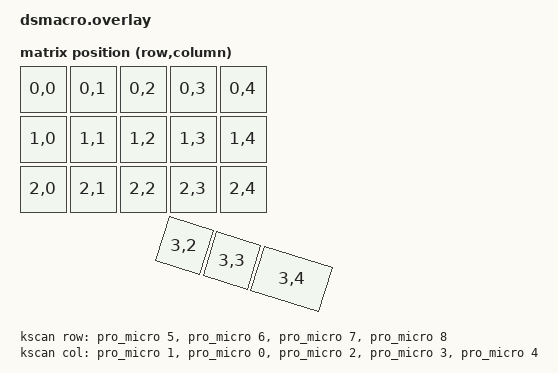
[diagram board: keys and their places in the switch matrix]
#include <dt-bindings/zmk/matrix_transform.h> 
#include <physical_layouts.dtsi>

/ {
    kscan: kscan {
        compatible = "zmk,kscan-gpio-matrix";
        diode-direction = "col2row";
        
        col-gpios
	    = <&pro_micro 1 GPIO_ACTIVE_HIGH>
	    , <&pro_micro 0 GPIO_ACTIVE_HIGH>
	    , <&pro_micro 2 GPIO_ACTIVE_HIGH>
	    , <&pro_micro 3 GPIO_ACTIVE_HIGH>
        , <&pro_micro 4 GPIO_ACTIVE_HIGH>
	    ;
	
        row-gpios
	    = <&pro_micro 5 (GPIO_ACTIVE_HIGH | GPIO_PULL_DOWN)>
	    , <&pro_micro 6 (GPIO_ACTIVE_HIGH | GPIO_PULL_DOWN)>
        , <&pro_micro 7 (GPIO_ACTIVE_HIGH | GPIO_PULL_DOWN)>
        , <&pro_micro 8 (GPIO_ACTIVE_HIGH | GPIO_PULL_DOWN)>
	    ;
    };
    
    default_transform: matrix_transform {
        compatible = "zmk,matrix-transform";
        columns = <5>;
        rows = <4>;
        map = <
            RC(0,0) RC(0,1) RC(0,2) RC(0,3) RC(0,4)
            RC(1,0) RC(1,1) RC(1,2) RC(1,3) RC(1,4)
            RC(2,0) RC(2,1) RC(2,2) RC(2,3) RC(2,4)
                            RC(3,2) RC(3,3) RC(3,4)
        >;
    };
    
    dsmacro_physical_layout: dsmacro_physical_layout {
        compatible = "zmk,physical-layout";
        display-name = "DSMacro Layout";
        transform = <&default_transform>;

        keys = <
            &key_physical_attrs 100 100   0   0   0 0 0
            &key_physical_attrs 100 100 100   0   0 0 0
            &key_physical_attrs 100 100 200   0   0 0 0
            &key_physical_attrs 100 100 300   0   0 0 0
            &key_physical_attrs 100 100 400   0   0 0 0

            &key_physical_attrs 100 100   0 100   0 0 0
            &key_physical_attrs 100 100 100 100   0 0 0
            &key_physical_attrs 100 100 200 100   0 0 0
            &key_physical_attrs 100 100 300 100   0 0 0
            &key_physical_attrs 100 100 400 100   0 0 0

            &key_physical_attrs 100 100   0 200   0 0 0
            &key_physical_attrs 100 100 100 200   0 0 0
            &key_physical_attrs 100 100 200 200   0 0 0
            &key_physical_attrs 100 100 300 200   0 0 0
            &key_physical_attrs 100 100 400 200   0 0 0

            &key_physical_attrs 100 100 300 300 1750 300 300
            &key_physical_attrs 100 100 400 300 1750 300 300
            &key_physical_attrs 150 100 500 300 1750 300 300
        >;
    };
    
    chosen {
        zmk,kscan = &kscan;
        zmk,physical-layout = &dsmacro_physical_layout;
    };
};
